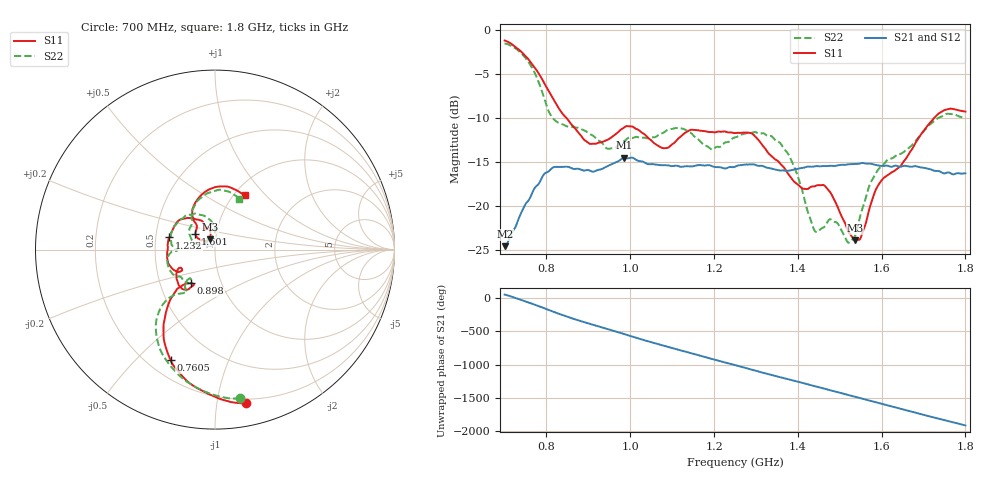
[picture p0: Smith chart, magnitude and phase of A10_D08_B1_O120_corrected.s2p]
! Created with skrf 1.9.0 (http://scikit-rf.org).
# Hz S RI R 50.0
!freq ReS11 ImS11 ReS21 ImS21 ReS12 ImS12 ReS22 ImS22
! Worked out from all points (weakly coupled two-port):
!   1601 points, 700 MHz to 1.8 GHz, reference 50 ohm
!   highest |S21| = -14.50 dB at 986 MHz (marker M1); lowest = -24.6 dB at 700.7 MHz (marker M2)
!   lowest |S11| = -23.9 dB at 1.537 GHz (marker M3), VSWR 1.14, Z = 46.9 + j5.32 ohm
!   |S11| at or under -10 dB: 847.9 MHz to 1.725 GHz (877.2 MHz wide, 68.2 % of centre)
!   |S22| runs from -24.2 to -1.5 dB; largest |S21 - S12| = 0.0037
!   S11 on the Smith chart (normalised r, x): 700 MHz: 0.17, -1.21; 760.5 MHz: 0.29, -0.64; 898 MHz: 0.72, -0.28; 1.232 GHz: 0.59, +0.09; 1.601 GHz: 0.79, +0.14; 1.8 GHz: 1.12, +0.77
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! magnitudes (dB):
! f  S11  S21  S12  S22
! 700 MHz  -1.2  -24.6  -24.3  -1.5
! 700.7 MHz  -1.2  -24.6  -24.3  -1.5
! 760.5 MHz  -3.6  -19.1  -19.0  -3.9
! 814.8 MHz  -7.7  -15.6  -15.7  -10.0
! 883.6 MHz  -12.1  -15.9  -15.8  -11.3
! 898 MHz  -12.8  -15.9  -16.0  -11.6
! 946.8 MHz  -12.5  -15.4  -15.5  -13.5
! 986 MHz  -11.0  -14.5  -14.6  -12.6
! 1.067 GHz  -13.2  -15.3  -15.3  -11.9
! 1.232 GHz  -11.6  -15.7  -15.6  -12.7
! 1.25 GHz  -11.7  -15.5  -15.5  -12.2
! 1.292 GHz  -11.8  -15.3  -15.3  -11.6
! 1.359 GHz  -15.2  -16.0  -15.9  -12.9
! 1.394 GHz  -17.3  -15.8  -15.8  -15.8
! 1.434 GHz  -17.8  -15.5  -15.5  -22.0
! 1.472 GHz  -18.1  -15.4  -15.5  -21.7
! 1.537 GHz  -23.9  -15.2  -15.2  -23.4
! 1.572 GHz  -20.2  -15.2  -15.2  -17.6
! 1.601 GHz  -17.0  -15.4  -15.4  -15.5
! 1.617 GHz  -16.4  -15.5  -15.4  -14.7
! 1.735 GHz  -9.5  -16.0  -16.1  -10.0
! 1.8 GHz  -9.3  -16.3  -16.3  -10.0
